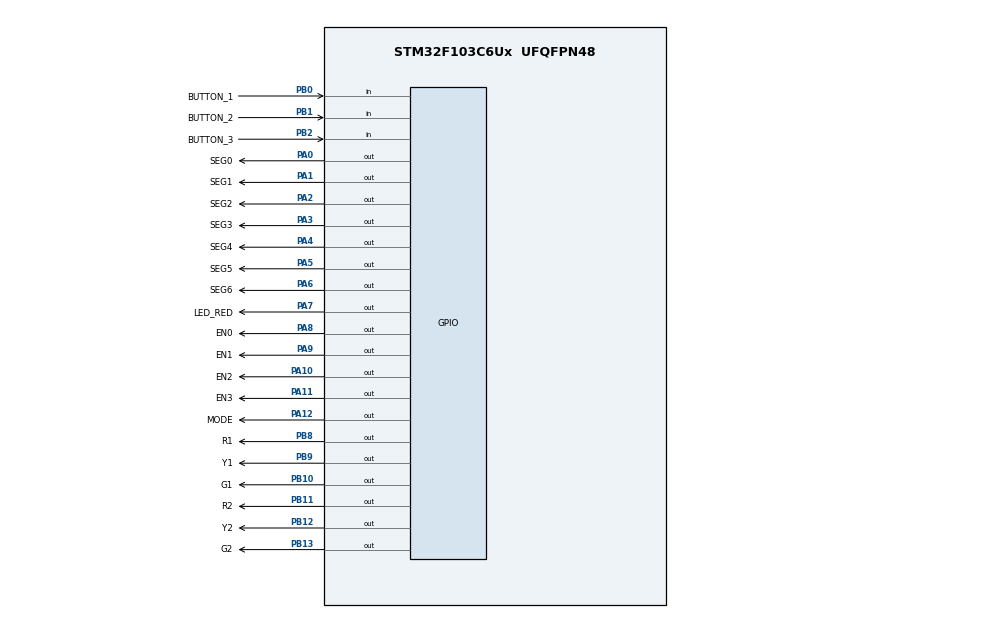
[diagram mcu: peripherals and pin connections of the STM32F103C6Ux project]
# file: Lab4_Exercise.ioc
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Mcu.Family=STM32F1
Mcu.Name=STM32F103C6Ux
Mcu.Package=UFQFPN48
NVIC.PriorityGroup=NVIC_PRIORITYGROUP_4
NVIC.TIM2_IRQn=true\:0\:0\:false\:false\:true\:true\:true
PA0-WKUP.GPIO_Label=SEG0
PA0-WKUP.Signal=GPIO_Output
PA1.GPIO_Label=SEG1
PA1.Signal=GPIO_Output
PA10.GPIO_Label=EN2
PA10.Signal=GPIO_Output
PA11.GPIO_Label=EN3
PA11.Signal=GPIO_Output
PA12.GPIO_Label=MODE
PA12.Signal=GPIO_Output
PA2.GPIO_Label=SEG2
PA2.Signal=GPIO_Output
PA3.GPIO_Label=SEG3
PA3.Signal=GPIO_Output
PA4.GPIO_Label=SEG4
PA4.Signal=GPIO_Output
PA5.GPIO_Label=SEG5
PA5.Signal=GPIO_Output
PA6.GPIO_Label=SEG6
PA6.Signal=GPIO_Output
PA7.GPIO_Label=LED_RED
PA7.Signal=GPIO_Output
PA8.GPIO_Label=EN0
PA8.Signal=GPIO_Output
PA9.GPIO_Label=EN1
PA9.Signal=GPIO_Output
PB0.GPIO_Label=BUTTON_1
PB0.Signal=GPIO_Input
PB1.GPIO_Label=BUTTON_2
PB1.Signal=GPIO_Input
PB10.GPIO_Label=G1
PB10.Signal=GPIO_Output
PB11.GPIO_Label=R2
PB11.Signal=GPIO_Output
PB12.GPIO_Label=Y2
PB12.Signal=GPIO_Output
PB13.GPIO_Label=G2
PB13.Signal=GPIO_Output
PB2.GPIO_Label=BUTTON_3
PB2.Signal=GPIO_Input
PB8.GPIO_Label=R1
PB8.Signal=GPIO_Output
PB9.GPIO_Label=Y1
PB9.Signal=GPIO_Output
ProjectManager.HeapSize=0x200
ProjectManager.StackSize=0x400
ProjectManager.TargetToolchain=STM32CubeIDE
RCC.APB1Freq_Value=8000000
RCC.APB2Freq_Value=8000000
TIM2.Period=9
TIM2.Prescaler=7999
VP_SYS_VS_ND.Mode=No_Debug
VP_TIM2_VS_ClockSourceINT.Mode=Internal
board=custom

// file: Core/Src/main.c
/* USER CODE BEGIN Header */
/**
  ******************************************************************************
  * @file           : main.c
  * @brief          : Main program body
  ******************************************************************************
  * @attention
  *
  * <h2><center>&copy; Copyright (c) 2024 STMicroelectronics.
  * All rights reserved.</center></h2>
  *
  * This software component is licensed by ST under BSD 3-Clause license,
  * the "License"; You may not use this file except in compliance with the
  * License. You may obtain a copy of the License at:
  *                        opensource.org/licenses/BSD-3-Clause
  *
  ******************************************************************************
  */
/* USER CODE END Header */
#include "main.h"

/* USER CODE BEGIN Includes */
#include "task.h"
#include "sched.h"
#include "fsm_automatic.h"
#include "fsm_manual.h"
#include "button.h"
#include "led_display.h"
#include "global.h"
/* USER CODE END Includes */

TIM_HandleTypeDef htim2;

void SystemClock_Config(void);
static void MX_GPIO_Init(void);
static void MX_TIM2_Init(void);

int main(void)
{

  /* MCU Configuration--------------------------------------------------------*/

  /* Reset of all peripherals, Initializes the Flash interface and the Systick. */
  HAL_Init();

  /* USER CODE BEGIN Init */
  SCH_Init();
  /* USER CODE END Init */

  /* Configure the system clock */
  SystemClock_Config();

  /* Initialize all configured peripherals */
  MX_GPIO_Init();
  MX_TIM2_Init();
  /* USER CODE BEGIN 2 */
  HAL_TIM_Base_Start_IT(&htim2);
  SCH_Add_Task(toggle_led, 50, 100);
  // Khởi tạo các giá trị toàn cục

  /* USER CODE END 2 */

  /* Infinite loop */
  /* USER CODE BEGIN WHILE */
  	  	init_buffer();
    	LedTimeDurationInit();
//    	SCH_Add_Task(init_buffer, 1, 1);
//    	SCH_Add_Task(LedTimeDurationInit,1, 1);
    	// Thêm các task vào scheduler
    	//SCH_Add_Task(NormalMode, 1, 100);
    	SCH_Add_Task(fsm_automatic, 1, 100);
    	SCH_Add_Task(fsm_manual, 2 , 1);
    	SCH_Add_Task(toggle_led, 50, 1000);
    	SCH_Add_Task(LEDScanning, 0, 1);
    	SCH_Add_Task(button_reading, 1, 1);
  while (1)
  {

	  SCH_Dispatch_Tasks();
    /* USER CODE END WHILE */

  }
}

void SystemClock_Config(void)
{
  RCC_OscInitTypeDef RCC_OscInitStruct = {0};
  RCC_ClkInitTypeDef RCC_ClkInitStruct = {0};

  /** Initializes the RCC Oscillators according to the specified parameters
  * in the RCC_OscInitTypeDef structure.
  */
  RCC_OscInitStruct.OscillatorType = RCC_OSCILLATORTYPE_HSI;
  RCC_OscInitStruct.HSIState = RCC_HSI_ON;
  RCC_OscInitStruct.HSICalibrationValue = RCC_HSICALIBRATION_DEFAULT;
  RCC_OscInitStruct.PLL.PLLState = RCC_PLL_NONE;
  if (HAL_RCC_OscConfig(&RCC_OscInitStruct) != HAL_OK)
  {
    Error_Handler();
  }
  /** Initializes the CPU, AHB and APB buses clocks
  */
  RCC_ClkInitStruct.ClockType = RCC_CLOCKTYPE_HCLK|RCC_CLOCKTYPE_SYSCLK
                              |RCC_CLOCKTYPE_PCLK1|RCC_CLOCKTYPE_PCLK2;
  RCC_ClkInitStruct.SYSCLKSource = RCC_SYSCLKSOURCE_HSI;
  RCC_ClkInitStruct.AHBCLKDivider = RCC_SYSCLK_DIV1;
  RCC_ClkInitStruct.APB1CLKDivider = RCC_HCLK_DIV1;
  RCC_ClkInitStruct.APB2CLKDivider = RCC_HCLK_DIV1;

  if (HAL_RCC_ClockConfig(&RCC_ClkInitStruct, FLASH_LATENCY_0) != HAL_OK)
  {
    Error_Handler();
  }
}

static void MX_TIM2_Init(void)
{

  TIM_ClockConfigTypeDef sClockSourceConfig = {0};
  TIM_MasterConfigTypeDef sMasterConfig = {0};

  htim2.Instance = TIM2;
  htim2.Init.Prescaler = 7999;
  htim2.Init.CounterMode = TIM_COUNTERMODE_UP;
  htim2.Init.Period = 9;
  htim2.Init.ClockDivision = TIM_CLOCKDIVISION_DIV1;
  htim2.Init.AutoReloadPreload = TIM_AUTORELOAD_PRELOAD_DISABLE;
  if (HAL_TIM_Base_Init(&htim2) != HAL_OK)
  {
    Error_Handler();
  }
  sClockSourceConfig.ClockSource = TIM_CLOCKSOURCE_INTERNAL;
  if (HAL_TIM_ConfigClockSource(&htim2, &sClockSourceConfig) != HAL_OK)
  {
    Error_Handler();
  }
  sMasterConfig.MasterOutputTrigger = TIM_TRGO_RESET;
  sMasterConfig.MasterSlaveMode = TIM_MASTERSLAVEMODE_DISABLE;
  if (HAL_TIMEx_MasterConfigSynchronization(&htim2, &sMasterConfig) != HAL_OK)
  {
    Error_Handler();
  }

}

static void MX_GPIO_Init(void)
{
  GPIO_InitTypeDef GPIO_InitStruct = {0};

  /* GPIO Ports Clock Enable */
  __HAL_RCC_GPIOA_CLK_ENABLE();
  __HAL_RCC_GPIOB_CLK_ENABLE();

  /*Configure GPIO pin Output Level */
  HAL_GPIO_WritePin(GPIOA, SEG0_Pin|SEG1_Pin|SEG2_Pin|SEG3_Pin
                          |SEG4_Pin|SEG5_Pin|SEG6_Pin|LED_RED_Pin
                          |EN0_Pin|EN1_Pin|EN2_Pin|EN3_Pin
                          |MODE_Pin, GPIO_PIN_RESET);

  /*Configure GPIO pin Output Level */
  HAL_GPIO_WritePin(GPIOB, G1_Pin|R2_Pin|Y2_Pin|G2_Pin
                          |R1_Pin|Y1_Pin, GPIO_PIN_RESET);

  /*Configure GPIO pins : SEG0_Pin SEG1_Pin SEG2_Pin SEG3_Pin
                           SEG4_Pin SEG5_Pin SEG6_Pin LED_RED_Pin
                           EN0_Pin EN1_Pin EN2_Pin EN3_Pin
                           MODE_Pin */
  GPIO_InitStruct.Pin = SEG0_Pin|SEG1_Pin|SEG2_Pin|SEG3_Pin
                          |SEG4_Pin|SEG5_Pin|SEG6_Pin|LED_RED_Pin
                          |EN0_Pin|EN1_Pin|EN2_Pin|EN3_Pin
                          |MODE_Pin;
  GPIO_InitStruct.Mode = GPIO_MODE_OUTPUT_PP;
  GPIO_InitStruct.Pull = GPIO_NOPULL;
  GPIO_InitStruct.Speed = GPIO_SPEED_FREQ_LOW;
  HAL_GPIO_Init(GPIOA, &GPIO_InitStruct);

  /*Configure GPIO pins : BUTTON_1_Pin BUTTON_2_Pin BUTTON_3_Pin */
  GPIO_InitStruct.Pin = BUTTON_1_Pin|BUTTON_2_Pin|BUTTON_3_Pin;
  GPIO_InitStruct.Mode = GPIO_MODE_INPUT;
  GPIO_InitStruct.Pull = GPIO_NOPULL;
  HAL_GPIO_Init(GPIOB, &GPIO_InitStruct);

  /*Configure GPIO pins : G1_Pin R2_Pin Y2_Pin G2_Pin
                           R1_Pin Y1_Pin */
  GPIO_InitStruct.Pin = G1_Pin|R2_Pin|Y2_Pin|G2_Pin
                          |R1_Pin|Y1_Pin;
  GPIO_InitStruct.Mode = GPIO_MODE_OUTPUT_PP;
  GPIO_InitStruct.Pull = GPIO_NOPULL;
  GPIO_InitStruct.Speed = GPIO_SPEED_FREQ_LOW;
  HAL_GPIO_Init(GPIOB, &GPIO_InitStruct);

}

/* USER CODE BEGIN 4 */
void HAL_TIM_PeriodElapsedCallback(TIM_HandleTypeDef * htim){
	SCH_Update();
}
/* USER CODE END 4 */

void Error_Handler(void)
{
  __disable_irq();
  while (1)
  {
  }
}

/************************ (C) COPYRIGHT STMicroelectronics *****END OF FILE****/
